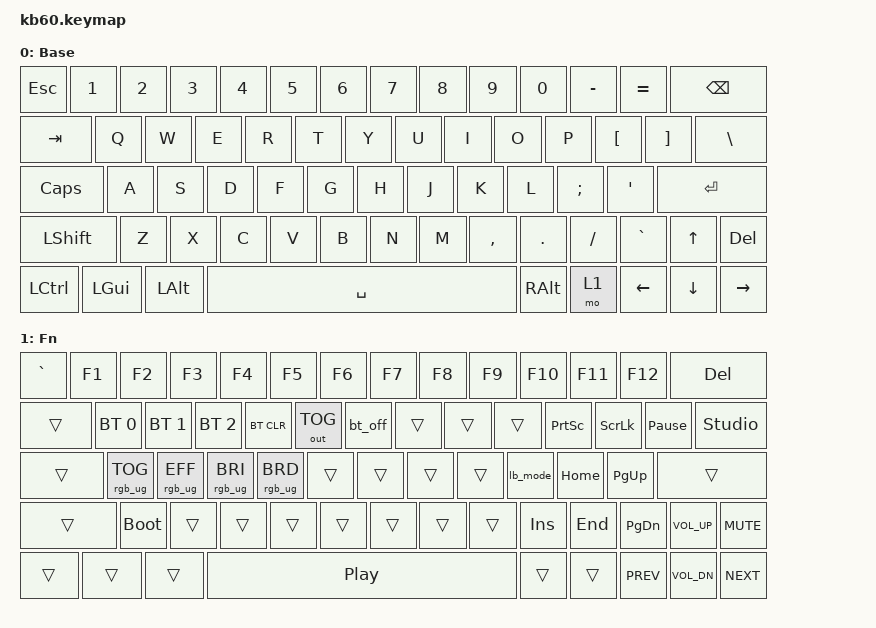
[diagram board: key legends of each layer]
#include <behaviors.dtsi>
#include <behaviors/runtime_macro.dtsi>
#include <behaviors/via_macro.dtsi>
#include <behaviors/lightbar_mode.dtsi>
#include <dt-bindings/zmk/keys.h>
#include <dt-bindings/zmk/bt.h>
#include <dt-bindings/zmk/outputs.h>
#include <dt-bindings/zmk/rgb.h>

// Named so the configurator can find it.
&msc {
    display-name = "Mouse Scroll";
};

/ {
    macros {
        // Leaves the PC disconnected: the active profile always reconnects, so move to
        // spare profile 2 first, then drop profile 0. Fn + Q (Bluetooth 1) reconnects.
        bt_off: bt_off {
            compatible = "zmk,behavior-macro";
            #binding-cells = <0>;
            display-name = "Bluetooth Off";
            wait-ms = <30>;
            bindings = <&bt BT_SEL 2>, <&bt BT_DISC 0>;
        };
    };

    keymap {
        compatible = "zmk,keymap";

        base {
            display-name = "Base";
            bindings = <
                &kp ESC   &kp N1   &kp N2   &kp N3 &kp N4 &kp N5 &kp N6 &kp N7 &kp N8    &kp N9  &kp N0   &kp MINUS &kp EQUAL &kp BSPC
                &kp TAB   &kp Q    &kp W    &kp E  &kp R  &kp T  &kp Y  &kp U  &kp I     &kp O   &kp P    &kp LBKT  &kp RBKT  &kp BSLH
                &kp CAPS  &kp A    &kp S    &kp D  &kp F  &kp G  &kp H  &kp J  &kp K     &kp L   &kp SEMI &kp SQT   &kp RET
                &kp LSHFT &kp Z    &kp X    &kp C  &kp V  &kp B  &kp N  &kp M  &kp COMMA &kp DOT &kp FSLH &kp GRAVE &kp UP    &kp DEL
                &kp LCTRL &kp LGUI &kp LALT &kp SPACE &kp RALT &mo 1 &kp LEFT &kp DOWN &kp RIGHT
            >;
        };

        fn {
            display-name = "Fn";
            bindings = <
                &kp GRAVE &kp F1      &kp F2 &kp F3 &kp F4 &kp F5 &kp F6 &kp F7 &kp F8 &kp F9  &kp F10   &kp F11   &kp F12         &kp DEL
                &trans    &bt BT_SEL 0 &bt BT_SEL 1 &bt BT_SEL 2 &bt BT_CLR &out OUT_TOG &bt_off &trans &trans &trans &kp PSCRN &kp SLCK &kp PAUSE_BREAK &studio_unlock
                &trans    &rgb_ug RGB_TOG &rgb_ug RGB_EFF &rgb_ug RGB_BRI &rgb_ug RGB_BRD &trans &trans &trans &trans &lb_mode &kp HOME  &kp PG_UP &trans
                &trans    &bootloader &trans &trans &trans &trans &trans &trans &trans &kp INS &kp END   &kp PG_DN &kp C_VOL_UP    &kp C_MUTE
                &trans    &trans      &trans &kp C_PP &trans &trans &kp C_PREV &kp C_VOL_DN &kp C_NEXT
            >;
        };
    };
};
